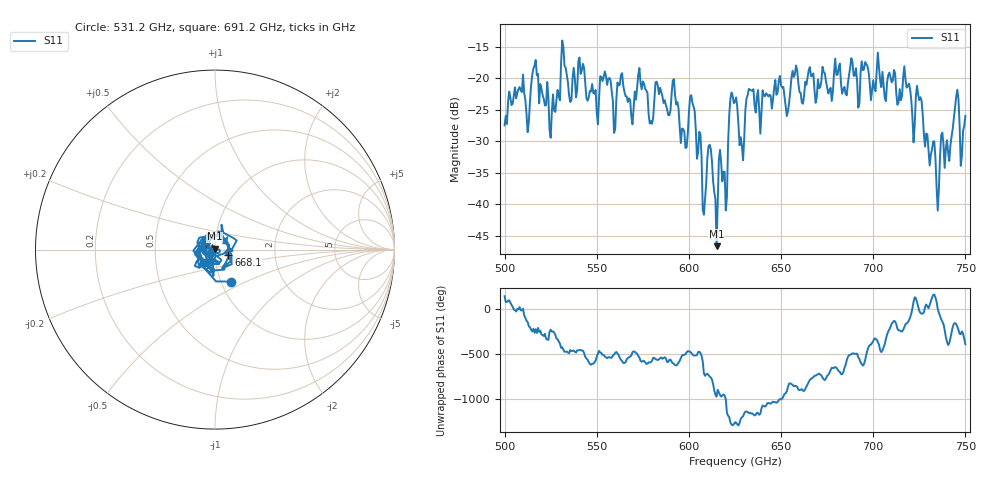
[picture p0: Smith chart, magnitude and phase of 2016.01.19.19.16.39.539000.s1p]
!Created with skrf (http://scikit-rf.org).
# GHz S RI R 50.0
!freq ReS11 ImS11
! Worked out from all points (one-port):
!   401 points, 500 GHz to 750 GHz, reference 50 ohm
!   lowest |S11| = -46.6 dB at 615 GHz (marker M1), VSWR 1.01, Z = 49.9 + j0.446 ohm
!   |S11| at or under -10 dB: start of sweep to end of sweep
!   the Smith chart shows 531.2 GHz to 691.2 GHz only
!   S11 on the Smith chart (normalised r, x): 531.2 GHz: 1.12, -0.41; 668.1 GHz: 1.16, -0.07; 691.2 GHz: 0.87, -0.12
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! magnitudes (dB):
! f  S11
! 500 GHz  -27.5
! 508.8 GHz  -21.9
! 512.5 GHz  -28.5
! 516.9 GHz  -17.1
! 525.6 GHz  -25.3
! 531.2 GHz  -14.0
! 559.4 GHz  -28.7
! 562.5 GHz  -21.0
! 593.8 GHz  -23.8
! 598.1 GHz  -31.1
! 601.9 GHz  -23.8
! 608.1 GHz  -41.7
! 611.2 GHz  -30.5
! 615 GHz  -46.6
! 617.5 GHz  -33.4
! 619.4 GHz  -34.8
! 622.5 GHz  -23.3
! 625 GHz  -23.7
! 628.8 GHz  -30.7
! 633.1 GHz  -21.8
! 656.2 GHz  -18.8
! 668.1 GHz  -21.9
! 687.5 GHz  -18.2
! 691.2 GHz  -20.5
! 718.8 GHz  -21.3
! 735 GHz  -41.0
! 745 GHz  -22.9
! 750 GHz  -26.0
